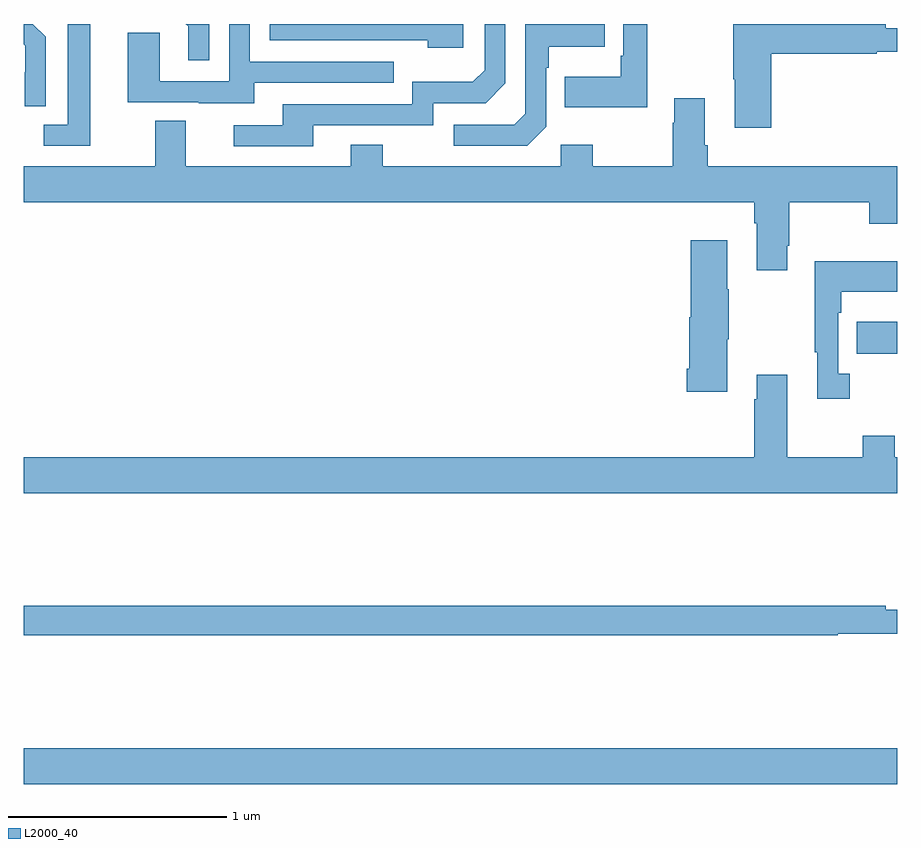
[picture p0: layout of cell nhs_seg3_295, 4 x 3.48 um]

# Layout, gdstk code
import gdstk
lib = gdstk.Library(unit=1e-6, precision=1e-09)
def R(c, l, rs):  # rectangles x0, y0, x1, y1
    for r in rs: c.add(gdstk.rectangle(r[:2], r[2:], *l))
def P(c, l, *ps):  # polygons
    for p in ps: c.add(gdstk.Polygon(p, *l))
L2000_40 = (2000, 40)

nhs_seg3_295 = lib.new_cell('nhs_seg3_295')
R(nhs_seg3_295, L2000_40, [(125,696.92,129,697.084), (128.815,698.89,129,699.037)])
P(nhs_seg3_295, L2000_40, [(125.1,700.342),(125.042,700.4),(125,700.4),(125,700.307),(125.006,700.301),(125.006,700.178),(125.004,700.178),(125.004,700.024),(125.1,700.024)],
  [(128.423,700.264),(128.906,700.264),(128.906,700.272),(129,700.272),(129,700.381),(128.948,700.381),(128.948,700.4),(128.248,700.4),(128.248,700.147),(128.255,700.147),(128.255,699.924),(128.423,699.924)],
  [(127.855,700.4),(127.746,700.4),(127.746,700.255),(127.734,700.255),(127.734,700.159),(127.477,700.159),(127.477,700.019),(127.855,700.019)],
  [(126.055,700.131),(126.695,700.131),(126.695,700.227),(126.036,700.227),(126.036,700.4),(125.94,700.4),(125.94,700.137),(125.622,700.137),(125.622,700.361),(125.477,700.361),(125.477,700.041),(125.801,700.041),(125.801,700.037),(126.055,700.037)],
  [(125.85,700.4),(125.742,700.4),(125.753,700.389),(125.753,700.233),(125.85,700.233)],
  [(125.305,700.4),(125.201,700.4),(125.201,699.939),(125.091,699.939),(125.091,699.843),(125.305,699.843)],
  [(127.012,700.4),(126.126,700.4),(126.126,700.326),(126.851,700.326),(126.851,700.292),(127.012,700.292)],
  [(126.325,699.936),(126.876,699.936),(126.876,700.038),(127.116,700.038),(127.206,700.128),(127.206,700.4),(127.11,700.4),(127.11,700.188),(127.057,700.135),(126.78,700.135),(126.78,700.032),(126.185,700.032),(126.185,699.936),(125.961,699.936),(125.961,699.84),(126.325,699.84)],
  [(127.392,699.93),(127.392,700.199),(127.405,700.199),(127.405,700.295),(127.661,700.295),(127.661,700.4),(127.296,700.4),(127.296,699.99),(127.245,699.939),(126.969,699.939),(126.969,699.843),(127.305,699.843)],
  [(128.497,699.385),(128.505,699.385),(128.505,699.584),(128.872,699.584),(128.872,699.485),(129,699.485),(129,699.748),(128.132,699.748),(128.132,699.844),(128.119,699.844),(128.119,700.06),(127.979,700.06),(127.979,699.947),(127.972,699.947),(127.972,699.748),(127.605,699.748),(127.605,699.847),(127.458,699.847),(127.458,699.748),(126.645,699.748),(126.645,699.847),(126.497,699.847),(126.497,699.748),(125.743,699.748),(125.743,699.956),(125.603,699.956),(125.603,699.748),(125,699.748),(125,699.584),(128.345,699.584),(128.345,699.488),(128.357,699.488),(128.357,699.273),(128.497,699.273)],
  [(128.221,698.957),(128.229,698.957),(128.229,699.185),(128.221,699.185),(128.221,699.409),(128.054,699.409),(128.054,699.057),(128.048,699.057),(128.048,698.821),(128.036,698.821),(128.036,698.717),(128.221,698.717)],
  [(128.782,698.798),(128.73,698.798),(128.73,699.077),(128.743,699.077),(128.743,699.173),(128.999,699.173),(128.999,699.313),(128.622,699.313),(128.622,698.897),(128.633,698.897),(128.633,698.685),(128.782,698.685)],
  [(129,698.416),(128.989,698.416),(128.989,698.515),(128.842,698.515),(128.842,698.416),(128.497,698.416),(128.497,698.794),(128.357,698.794),(128.357,698.681),(128.345,698.681),(128.345,698.416),(125,698.416),(125,698.252),(129,698.252)],
  [(128.728,697.608),(129,697.608),(129,697.717),(128.948,697.717),(128.948,697.736),(125,697.736),(125,697.6),(128.728,697.6)])

lib.write_gds('nhs_seg3_295.gds')
